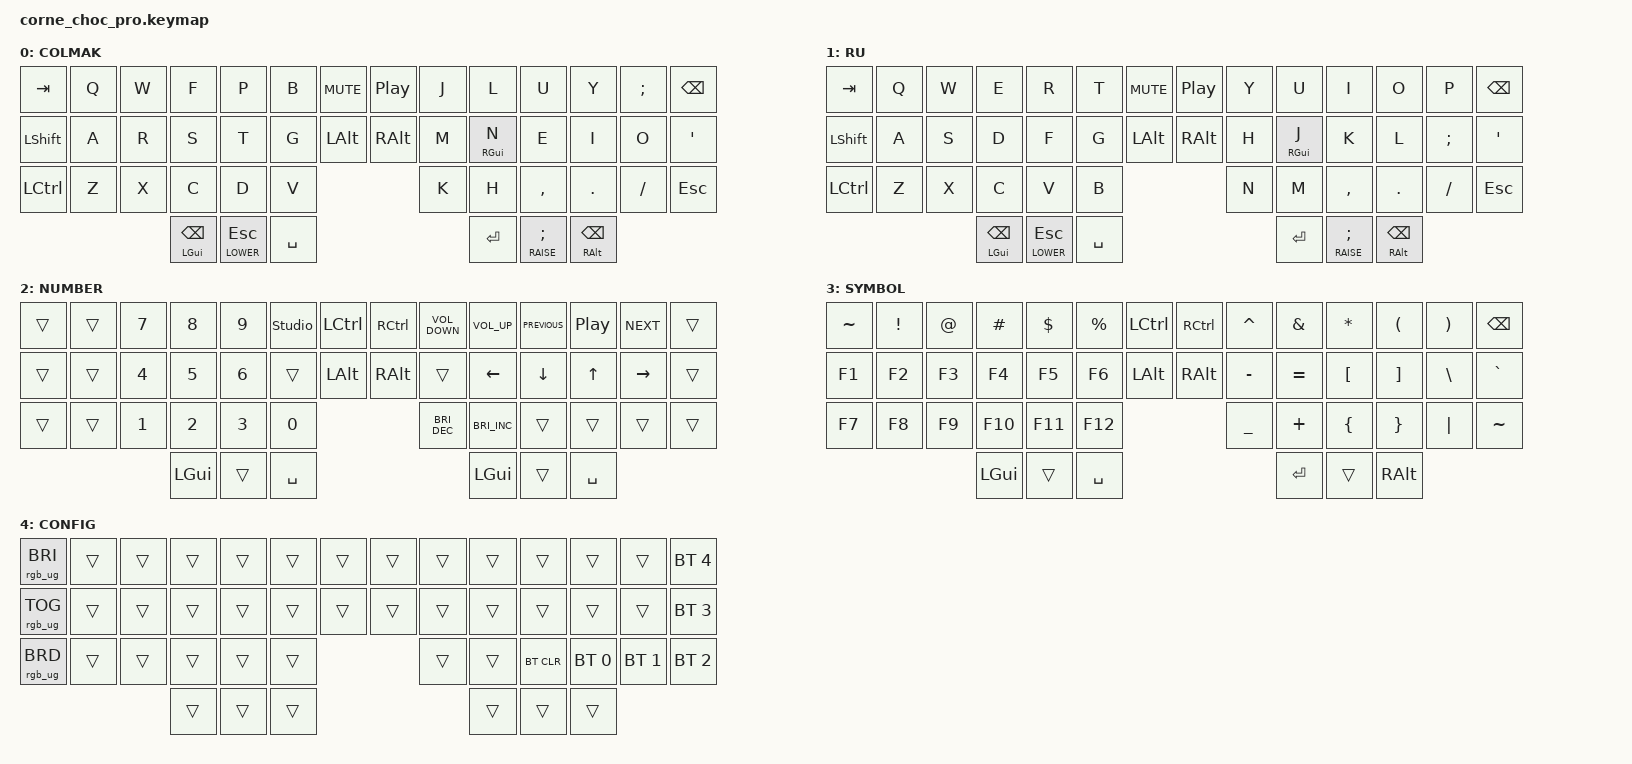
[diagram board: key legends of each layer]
/*
 * Copyright (c) 2020 The ZMK Contributors
 *
 * SPDX-License-Identifier: MIT
 */

#include <behaviors.dtsi>
#include <dt-bindings/zmk/bt.h>
#include <dt-bindings/zmk/keys.h>
#include <dt-bindings/zmk/rgb.h>

#define EN      0
#define RU      1
#define LOWER   2
#define RAISE   3
#define CONFIG  4
/* Use LALT on macOS for Ctrl+Option+Space instead of Ctrl+Meta+Space. */
#define LANG_SWITCH_MOD LGUI

/ {
    chosen { zmk,physical-layout = &default_layout; };
};

/ {
    macros {
        lang_toggle: lang_toggle {
            compatible = "zmk,behavior-macro";
            #binding-cells = <0>;
            wait-ms = <40>;
            tap-ms = <40>;
            bindings
                = <&macro_press &kp LCTRL &kp LANG_SWITCH_MOD>
                , <&macro_tap &kp SPACE>
                , <&macro_release &kp LCTRL &kp LANG_SWITCH_MOD>
                , <&tog RU>
                ;
        };
    };

    combos {
        compatible = "zmk,combos";

        lang_toggle_combo {
            timeout-ms = <50>;
            key-positions = <20 21>;
            layers = <EN RU>;
            bindings = <&lang_toggle>;
        };
    };

    conditional_layers {
        compatible = "zmk,conditional-layers";

        config_layer_hold {
            if-layers = <LOWER RAISE>;
            then-layer = <CONFIG>;
        };
    };

    keymap {
        compatible = "zmk,keymap";

        default_layer {
            display-name = "COLMAK";

            // --------------------------------------------------------------------------------
            // |  TAB |  Q  |  W  |  E  |  R  |  T  |  MUTE |  PP   |  Y  |  U   |  I  |  O  |  P  | BSPC |
            // | CTRL |  A  |  S  |  D  |  F  |  G  |  LALT |  RALT |  H  |  J   |  K  |  L  |  ;  |  '   |
            // | SHFT |  Z  |  X  |  C  |  V  |  B  |               |  N  |  M   |  ,  |  .  |  /  | ESC  |
            //                    | GUI | LWR | SPC |               | ENT | RSE  | ALT |

            bindings = <
&kp TAB           &kp Q  &kp W  &kp F               &kp P         &kp B      &kp C_MUTE  &kp C_PP  &kp J    &kp L            &kp U               &kp Y    &kp SEMI  &kp BSPC
&kp LEFT_SHIFT    &kp A  &kp R  &kp S               &kp T         &kp G      &kp LALT    &kp RALT  &kp M    &mt RGUI N       &kp E               &kp I    &kp O     &kp SQT
&kp LEFT_CONTROL  &kp Z  &kp X  &kp C               &kp D         &kp V                            &kp K    &kp H            &kp COMMA           &kp DOT  &kp FSLH  &kp ESC
                                &mt LGUI BACKSPACE  &lt LOWER ESCAPE  &kp SPACE                            &kp RET  &lt RAISE SEMICOLON  &mt RALT BACKSPACE
            >;
        };

        ru_layer {
            display-name = "RU";

            bindings = <
&kp TAB           &kp Q  &kp W  &kp E               &kp R         &kp T      &kp C_MUTE  &kp C_PP  &kp Y    &kp U            &kp I               &kp O    &kp P     &kp BSPC
&kp LEFT_SHIFT    &kp A  &kp S  &kp D               &kp F         &kp G      &kp LALT    &kp RALT  &kp H    &mt RGUI J       &kp K               &kp L    &kp SEMI  &kp SQT
&kp LEFT_CONTROL  &kp Z  &kp X  &kp C               &kp V         &kp B                            &kp N    &kp M            &kp COMMA           &kp DOT  &kp FSLH  &kp ESC
                                &mt LGUI BACKSPACE  &lt LOWER ESCAPE  &kp SPACE                            &kp RET  &lt RAISE SEMICOLON  &mt RALT BACKSPACE
            >;
        };

        lower_layer {
            display-name = "NUMBER";

            // -----------------------------------------------------------------------------------------
            // |  TAB |  1  |  2  |  3  |  4  |  5    |  LCTRL | RCTRL |  6  |  7  |  8  |  9  |  0  | BSPC |
            // | CTRL | BT1 | BT2 | BT3 | BT4 | BT5   |  LALT  | RALT  | LFT | DWN |  UP | RGT |     |      |
            // | SHFT | BTCR| RGB | RST | BOOT| Unlock|        |       |     |     |     |     |     |      |
            //                    | GUI |     | SPC   |        | ENT   |     | ALT |

            bindings = <
&trans           &trans  &kp N7  &kp N8    &kp N9  &studio_unlock  &kp LCTRL  &kp RCTRL  &kp C_VOLUME_DOWN     &kp C_VOLUME_UP       &kp C_PREVIOUS  &kp C_PLAY_PAUSE  &kp C_NEXT    &trans
&trans           &trans  &kp N4  &kp N5    &kp N6  &trans          &kp LALT   &kp RALT   &trans                &kp LEFT              &kp DOWN        &kp UP            &kp RIGHT     &trans
&trans           &trans  &kp N1  &kp N2    &kp N3  &kp N0                                &kp C_BRIGHTNESS_DEC  &kp C_BRIGHTNESS_INC  &trans          &trans            &trans        &trans
                                  &kp LGUI  &trans  &kp SPACE                             &kp LGUI              &trans                &kp SPACE
            >;
        };

        raise_layer {
            display-name = "SYMBOL";

            // -----------------------------------------------------------------------------------------
            // |  TAB |  !  |  @  |  #  |  $  |  %  | LCTRL | RCTRL |  ^  |  &  |  *  |  (  |  )  | BSPC |
            // | CTRL |     |     |     |     |     |  LALT | RALT  |  -  |  =  |  [  |  ]  |  \  |  `   |
            // | SHFT |     |     |     |     |     |               |  _  |  +  |  {  |  }  | "|" |  ~   |
            //                    | GUI |     | SPC |               | ENT |     | ALT |

            bindings = <
&kp TILDE  &kp EXCL  &kp AT  &kp HASH  &kp DLLR  &kp PRCNT  &kp LCTRL  &kp RCTRL  &kp CARET  &kp AMPS   &kp ASTRK  &kp LPAR  &kp RPAR  &kp BSPC
&kp F1     &kp F2    &kp F3  &kp F4    &kp F5    &kp F6     &kp LALT   &kp RALT   &kp MINUS  &kp EQUAL  &kp LBKT   &kp RBKT  &kp BSLH  &kp GRAVE
&kp F7     &kp F8    &kp F9  &kp F10   &kp F11   &kp F12                          &kp UNDER  &kp PLUS   &kp LBRC   &kp RBRC  &kp PIPE  &kp TILDE
                             &kp LGUI  &trans    &kp SPACE                        &kp RET    &trans     &kp RALT
            >;
        };

        config_layer {
            display-name = "CONFIG";

            bindings = <
&rgb_ug RGB_BRI  &trans  &trans  &trans  &trans  &trans  &trans  &trans  &trans  &trans  &trans  &trans  &trans  &bt BT_SEL 4
&rgb_ug RGB_TOG  &trans  &trans  &trans  &trans  &trans  &trans  &trans  &trans  &trans  &trans  &trans  &trans  &bt BT_SEL 3
&rgb_ug RGB_BRD  &trans  &trans  &trans  &trans  &trans                  &trans  &trans  &bt BT_CLR  &bt BT_SEL 0  &bt BT_SEL 1  &bt BT_SEL 2
                             &trans  &trans  &trans                        &trans  &trans     &trans
            >;
        };
    };
};
